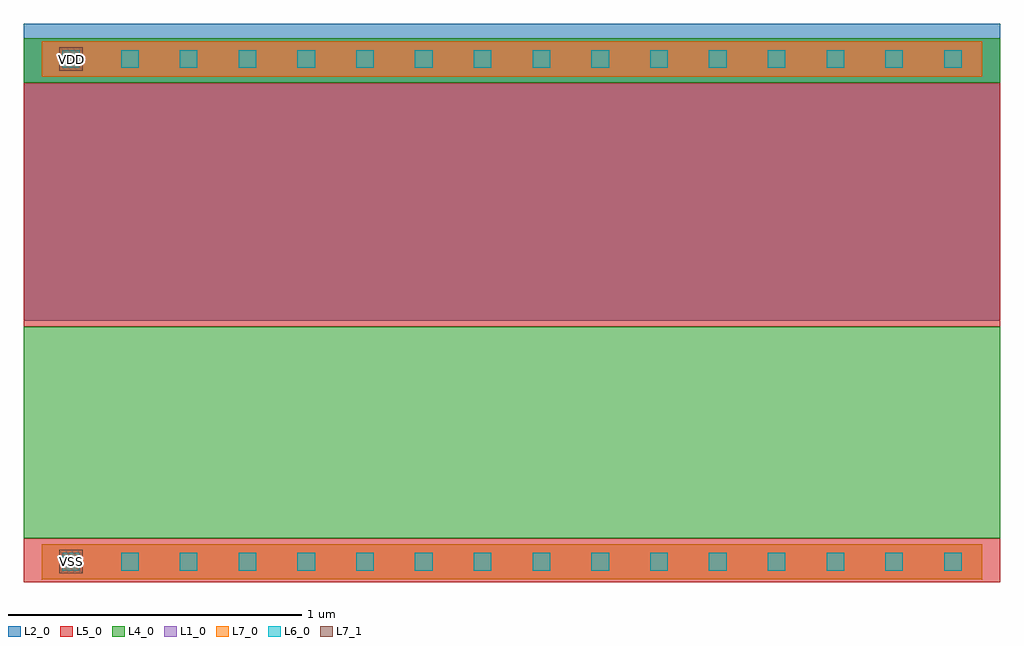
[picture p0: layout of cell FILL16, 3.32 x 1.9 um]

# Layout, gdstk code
import gdstk
lib = gdstk.Library(unit=1e-6, precision=5e-10)
def R(c, l, rs):  # rectangles x0, y0, x1, y1
    for r in rs: c.add(gdstk.rectangle(r[:2], r[2:], *l))
def A(c, l, x, y, w, h, nx, ny, dx, dy):  # array of equal rectangles
    R(c, l, [(x+i*dx, y+j*dy, x+i*dx+w, y+j*dy+h) for i in range(nx) for j in range(ny)])
L1_0 = (1, 0)
L2_0 = (2, 0)
L4_0 = (4, 0)
L5_0 = (5, 0)
L6_0 = (6, 0)
L7_0 = (7, 0)
L7_1 = (7, 1)

fill16 = lib.new_cell('FILL16')
R(fill16, L1_0, [(0,-0.06,3.2,0.06), (0,1.65,3.2,1.77)])
R(fill16, L2_0, [(-0.06,0.82,3.26,1.83)])
R(fill16, L4_0, [(-0.06,0.08,3.26,0.8), (-0.06,1.63,3.26,1.78)])
R(fill16, L5_0, [(-0.06,-0.07,3.26,0.08), (-0.06,0.8,3.26,1.63)])
A(fill16, L6_0, 0.07, -0.03, 0.06, 0.06, 16, 2, 0.2, 1.71)
R(fill16, L7_0, [(0,-0.06,3.2,0.06), (0,1.65,3.2,1.77)])
R(fill16, L7_1, [(0.06,-0.04,0.14,0.04), (0.06,1.67,0.14,1.75)])
fill16.add(gdstk.Label('VSS', (0.1,0), layer=7, texttype=1))
fill16.add(gdstk.Label('VDD', (0.1,1.71), layer=7, texttype=1))
fill16.add(gdstk.Label('VDD', (0.09,1.7), layer=63, texttype=0))
fill16.add(gdstk.Label('VSS', (0.085,0), layer=63, texttype=0))

lib.write_gds('FILL16.gds')
